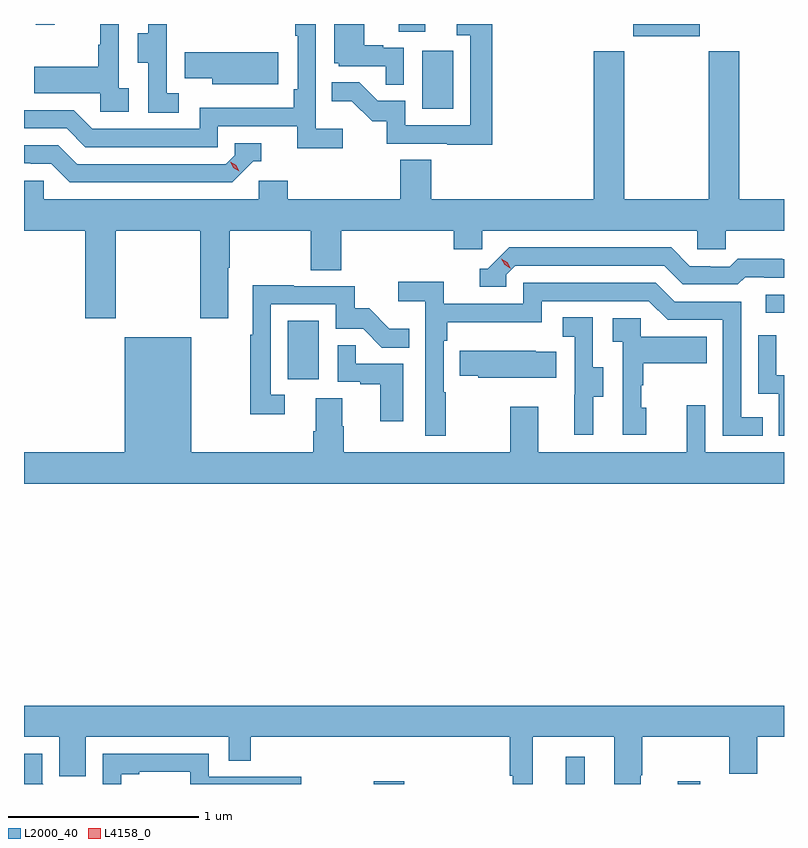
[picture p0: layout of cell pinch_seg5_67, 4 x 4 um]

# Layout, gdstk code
import gdstk
lib = gdstk.Library(unit=1e-6, precision=1e-09)
def R(c, l, rs):  # rectangles x0, y0, x1, y1
    for r in rs: c.add(gdstk.rectangle(r[:2], r[2:], *l))
def P(c, l, *ps):  # polygons
    for p in ps: c.add(gdstk.Polygon(p, *l))
L2000_40 = (2000, 40)
L4158_0 = (4158, 0)

pinch_seg5_67 = lib.new_cell('pinch_seg5_67')
R(pinch_seg5_67, L2000_40, [(1058.657,908.459,1058.818,908.473), (1059.668,908.459,1059.766,908.602), (1060.256,908.459,1060.375,908.473), (1058.204,910.59,1058.368,910.897), (1060.719,910.938,1060.816,911.034), (1058.912,912.012,1059.076,912.319), (1060.022,912.395,1060.372,912.459), (1058.789,912.418,1058.929,912.459), (1056.879,912.456,1056.977,912.459)])
P(pinch_seg5_67, L2000_40, [(1057.63,912.095),(1057.566,912.095),(1057.566,912.399),(1057.568,912.399),(1057.568,912.459),(1057.469,912.459),(1057.469,912.411),(1057.415,912.411),(1057.415,912.256),(1057.47,912.256),(1057.47,911.992),(1057.63,911.992)],
  [(1058.494,911.908),(1058.352,911.908),(1058.352,912.459),(1058.244,912.459),(1058.244,912.397),(1058.256,912.397),(1058.256,912.115),(1058.236,912.115),(1058.236,912.018),(1057.74,912.018),(1057.74,911.907),(1057.176,911.907),(1057.077,912.006),(1056.816,912.006),(1056.816,911.91),(1057.04,911.91),(1057.139,911.811),(1057.836,911.811),(1057.836,911.922),(1058.255,911.922),(1058.255,911.806),(1058.494,911.806)],
  [(1059.281,912.459),(1059.093,912.459),(1059.093,912.399),(1059.165,912.399),(1059.165,911.925),(1058.823,911.925),(1058.823,912.054),(1058.679,912.054),(1058.581,912.152),(1058.437,912.152),(1058.437,912.053),(1058.541,912.053),(1058.648,911.946),(1058.725,911.946),(1058.725,911.829),(1059.043,911.829),(1059.043,911.824),(1059.281,911.824)],
  [(1057.366,912.122),(1057.314,912.122),(1057.314,912.459),(1057.216,912.459),(1057.216,912.35),(1057.206,912.35),(1057.206,912.235),(1056.871,912.235),(1056.871,912.095),(1057.218,912.095),(1057.218,911.997),(1057.366,911.997)],
  [(1058.814,912.333),(1058.708,912.333),(1058.708,912.346),(1058.608,912.346),(1058.608,912.459),(1058.45,912.459),(1058.45,912.252),(1058.472,912.252),(1058.472,912.237),(1058.719,912.237),(1058.719,912.139),(1058.814,912.139)],
  [(1057.299,911.372),(1057.744,911.372),(1057.744,910.911),(1057.891,910.911),(1057.891,911.176),(1057.899,911.176),(1057.899,911.372),(1058.326,911.372),(1058.326,911.164),(1058.486,911.164),(1058.486,911.372),(1059.077,911.372),(1059.077,911.274),(1059.228,911.274),(1059.228,911.372),(1060.359,911.372),(1060.359,911.274),(1060.509,911.274),(1060.509,911.372),(1060.816,911.372),(1060.816,911.536),(1060.58,911.536),(1060.58,912.316),(1060.42,912.316),(1060.42,911.536),(1059.975,911.536),(1059.975,912.316),(1059.815,912.316),(1059.815,911.536),(1058.96,911.536),(1058.96,911.744),(1058.795,911.744),(1058.795,911.536),(1058.204,911.536),(1058.204,911.634),(1058.052,911.634),(1058.052,911.536),(1056.921,911.536),(1056.921,911.634),(1056.816,911.634),(1056.816,911.372),(1057.139,911.372),(1057.139,910.911),(1057.299,910.911)],
  [(1058.155,912.31),(1057.663,912.31),(1057.663,912.173),(1057.806,912.173),(1057.806,912.143),(1058.155,912.143)],
  [(1058.022,911.736),(1058.065,911.736),(1058.065,911.832),(1057.926,911.832),(1057.926,911.769),(1057.878,911.721),(1057.095,911.721),(1056.996,911.82),(1056.816,911.82),(1056.816,911.727),(1056.852,911.727),(1056.852,911.724),(1056.959,911.724),(1057.058,911.625),(1057.911,911.625)],
  [(1059.354,911.139),(1059.402,911.187),(1060.185,911.187),(1060.284,911.088),(1060.573,911.088),(1060.612,911.127),(1060.711,911.127),(1060.711,911.124),(1060.816,911.124),(1060.816,911.221),(1060.806,911.221),(1060.806,911.224),(1060.573,911.224),(1060.531,911.181),(1060.428,911.181),(1060.428,911.184),(1060.321,911.184),(1060.222,911.283),(1059.369,911.283),(1059.258,911.172),(1059.215,911.172),(1059.215,911.076),(1059.354,911.076)],
  [(1059.037,910.52),(1059.024,910.52),(1059.024,910.793),(1059.044,910.793),(1059.044,910.889),(1059.54,910.889),(1059.54,911.001),(1060.104,911.001),(1060.203,910.902),(1060.494,910.902),(1060.494,910.293),(1060.703,910.293),(1060.703,910.389),(1060.59,910.389),(1060.59,910.998),(1060.24,910.998),(1060.141,911.097),(1059.444,911.097),(1059.444,910.986),(1059.026,910.986),(1059.026,911.102),(1058.787,911.102),(1058.787,911),(1058.928,911),(1058.928,910.293),(1059.037,910.293)],
  [(1058.188,910.509),(1058.115,910.509),(1058.115,910.983),(1058.457,910.983),(1058.457,910.854),(1058.602,910.854),(1058.7,910.756),(1058.843,910.756),(1058.843,910.855),(1058.739,910.855),(1058.632,910.962),(1058.556,910.962),(1058.556,911.079),(1058.237,911.079),(1058.237,911.084),(1058.019,911.084),(1058.019,910.823),(1058.007,910.823),(1058.007,910.404),(1058.188,910.404)],
  [(1059.811,910.498),(1059.865,910.498),(1059.865,910.653),(1059.81,910.653),(1059.81,910.916),(1059.651,910.916),(1059.651,910.813),(1059.714,910.813),(1059.714,910.509),(1059.713,910.509),(1059.713,910.296),(1059.811,910.296)],
  [(1060.09,910.44),(1060.065,910.44),(1060.065,910.559),(1060.075,910.559),(1060.075,910.673),(1060.409,910.673),(1060.409,910.813),(1060.062,910.813),(1060.062,910.911),(1059.915,910.911),(1059.915,910.787),(1059.966,910.787),(1059.966,910.296),(1060.09,910.296)],
  [(1060.816,910.61),(1060.776,910.61),(1060.776,910.822),(1060.68,910.822),(1060.68,910.512),(1060.788,910.512),(1060.788,910.293),(1060.816,910.293)],
  [(1060.816,910.204),(1060.401,910.204),(1060.401,910.453),(1060.304,910.453),(1060.304,910.204),(1059.523,910.204),(1059.523,910.444),(1059.376,910.444),(1059.376,910.204),(1058.499,910.204),(1058.499,910.341),(1058.491,910.341),(1058.491,910.49),(1058.351,910.49),(1058.351,910.316),(1058.339,910.316),(1058.339,910.204),(1057.696,910.204),(1057.696,910.81),(1057.346,910.81),(1057.346,910.204),(1056.816,910.204),(1056.816,910.04),(1060.816,910.04)],
  [(1058.812,910.671),(1058.561,910.671),(1058.561,910.769),(1058.466,910.769),(1058.466,910.575),(1058.587,910.575),(1058.587,910.563),(1058.69,910.563),(1058.69,910.368),(1058.812,910.368)],
  [(1059.617,910.735),(1059.509,910.735),(1059.509,910.738),(1059.109,910.738),(1059.109,910.609),(1059.207,910.609),(1059.207,910.598),(1059.617,910.598)],
  [(1059.493,908.708),(1059.923,908.708),(1059.923,908.459),(1060.063,908.459),(1060.063,908.506),(1060.071,908.506),(1060.071,908.708),(1060.528,908.708),(1060.528,908.514),(1060.675,908.514),(1060.675,908.708),(1060.816,908.708),(1060.816,908.872),(1056.816,908.872),(1056.816,908.708),(1057.002,908.708),(1057.002,908.5),(1057.141,908.5),(1057.141,908.708),(1057.893,908.708),(1057.893,908.581),(1058.009,908.581),(1058.009,908.708),(1059.372,908.708),(1059.372,908.503),(1059.389,908.503),(1059.389,908.459),(1059.493,908.459)],
  [(1057.327,908.511),(1057.423,908.511),(1057.423,908.523),(1057.692,908.523),(1057.692,908.459),(1058.275,908.459),(1058.275,908.496),(1057.788,908.496),(1057.788,908.619),(1057.23,908.619),(1057.23,908.459),(1057.327,908.459)],
  [(1056.912,908.463),(1056.912,908.619),(1056.816,908.619),(1056.816,908.459),(1056.916,908.459)])
P(pinch_seg5_67, L4158_0, [(1059.377,911.172),(1059.346,911.191),(1059.329,911.224),(1059.329,911.224),(1059.329,911.224),(1059.36,911.205),(1059.377,911.172),(1059.377,911.172)],
  [(1057.949,911.683),(1057.918,911.703),(1057.902,911.735),(1057.902,911.735),(1057.902,911.735),(1057.933,911.716),(1057.949,911.683),(1057.949,911.683)])

lib.write_gds('pinch_seg5_67.gds')
